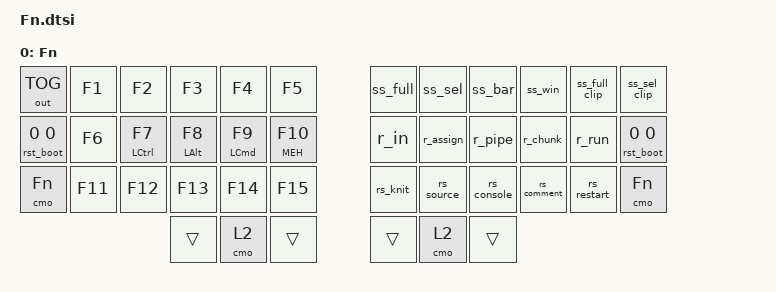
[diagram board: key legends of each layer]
/**
 * Function / System Layer
 */

/ {
  keymap {
    compatible = "zmk,keymap";

    fn_layer {
      display-name = "Fn";
      bindings = <
// ╭───────────────┬───────────────┬───────────────┬───────────────┬───────────────┬───────────────╮   ╭───────────────┬───────────────┬───────────────┬───────────────┬───────────────┬───────────────╮
// │0              │1              │2              │3              │4              │5              │   │6              │7              │8              │9              │10             │11             │
    &out OUT_TOG    &kp F1          &kp F2          &kp F3          &kp F4          &kp F5              &ss_full        &ss_sel         &ss_bar         &ss_win         &ss_full_clip   &ss_sel_clip
// ├───────────────├───────────────┼───────────────┼───────────────┼───────────────┼───────────────┤   ├───────────────├───────────────┼───────────────┼───────────────┼───────────────┼───────────────┤
// │12             │13             │14             │15             │16             │17             │   │18             │19             │20             │21             │22             │23             │
    &rst_boot 0 0   &kp F6          &hrml LCTRL F7  &hrml LALT F8   &hrml LCMD F9   &hrml MEH F10       &r_in           &r_assign       &r_pipe         &r_chunk        &r_run          &rst_boot 0 0
// ├───────────────├───────────────┼───────────────┼───────────────┼───────────────┼───────────────┤   ├───────────────├───────────────┼───────────────┼───────────────┼───────────────┼───────────────┤
// │24             │25             │26             │27             │28             │29             │   │30             │31             │32             │33             │34             │35             │
    &cmo Fn         &kp F11         &kp F12         &kp F13         &kp F14         &kp F15             &rs_knit        &rs_source      &rs_console     &rs_comment     &rs_restart     &cmo Fn
// ╰───────────────┴───────────────┴───────────────┼───────────────┼───────────────┼───────────────┤   ├───────────────├───────────────┼───────────────┼───────────────┴───────────────┴───────────────╯
//                                                 │36             │37             │38             │   │39             │40             │41             │
                                                    &trans          &cmo L2         &trans              &trans          &cmo L2         &trans
//                                                 ╰───────────────┴───────────────┴───────────────╯   ╰───────────────┴───────────────┴───────────────╯
      >;
    };
  };
};
